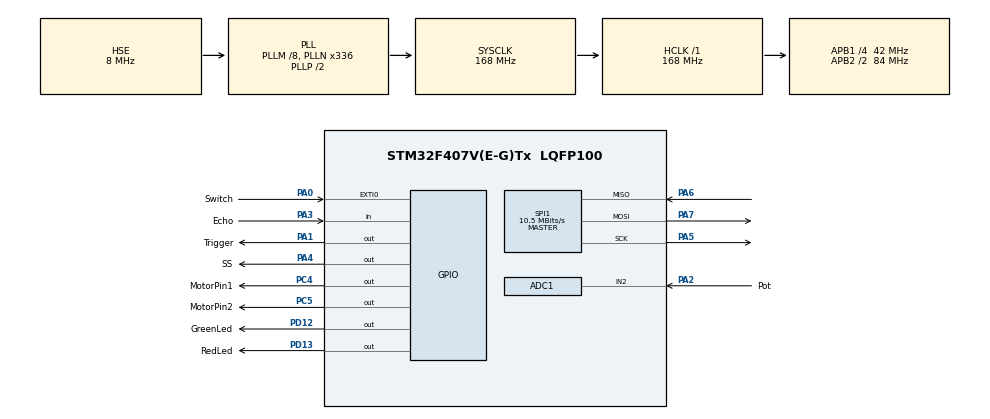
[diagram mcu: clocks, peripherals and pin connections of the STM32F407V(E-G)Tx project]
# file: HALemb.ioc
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ADC1.Channel-0\#ChannelRegularConversion=ADC_CHANNEL_2
ADC1.NbrOfConversionFlag=1
ADC1.Rank-0\#ChannelRegularConversion=1
ADC1.Resolution=ADC_RESOLUTION_10B
ADC1.SamplingTime-0\#ChannelRegularConversion=ADC_SAMPLETIME_28CYCLES
ADC1.master=1
Mcu.Family=STM32F4
Mcu.Name=STM32F407V(E-G)Tx
Mcu.Package=LQFP100
NVIC.EXTI0_IRQn=true\:0\:0\:false\:false\:true\:true\:true
NVIC.PriorityGroup=NVIC_PRIORITYGROUP_0
PA0-WKUP.GPIO_Label=Switch
PA0-WKUP.Signal=GPXTI0
PA1.GPIO_Label=Trigger
PA1.Signal=GPIO_Output
PA13.Mode=Serial_Wire
PA13.Signal=SYS_JTMS-SWDIO
PA14.Mode=Serial_Wire
PA14.Signal=SYS_JTCK-SWCLK
PA2.GPIO_Label=Pot
PA2.Signal=ADCx_IN2
PA3.GPIO_Label=Echo
PA3.Signal=GPIO_Input
PA4.GPIO_Label=SS
PA4.PinState=GPIO_PIN_RESET
PA4.Signal=GPIO_Output
PA5.Mode=Full_Duplex_Master
PA5.Signal=SPI1_SCK
PA6.Mode=Full_Duplex_Master
PA6.Signal=SPI1_MISO
PA7.Mode=Full_Duplex_Master
PA7.Signal=SPI1_MOSI
PC4.GPIO_Label=MotorPin1
PC4.Signal=GPIO_Output
PC5.GPIO_Label=MotorPin2
PC5.Signal=GPIO_Output
PD12.GPIO_Label=GreenLed
PD12.Signal=GPIO_Output
PD13.GPIO_Label=RedLed
PD13.Signal=GPIO_Output
ProjectManager.HeapSize=0x200
ProjectManager.StackSize=0x400
ProjectManager.TargetToolchain=STM32CubeIDE
RCC.48MHZClocksFreq_Value=48000000
RCC.AHBFreq_Value=168000000
RCC.APB1CLKDivider=RCC_HCLK_DIV4
RCC.APB1Freq_Value=42000000
RCC.APB1TimFreq_Value=84000000
RCC.APB2CLKDivider=RCC_HCLK_DIV2
RCC.APB2Freq_Value=84000000
RCC.APB2TimFreq_Value=168000000
RCC.CortexFreq_Value=168000000
RCC.HCLKFreq_Value=168000000
RCC.HSE_VALUE=8000000
RCC.HSI_VALUE=16000000
RCC.LSE_VALUE=32768
RCC.PLLM=8
RCC.PLLN=336
RCC.PLLQ=7
RCC.PLLSourceVirtual=RCC_PLLSOURCE_HSE
RCC.SYSCLKFreq_VALUE=168000000
RCC.SYSCLKSource=RCC_SYSCLKSOURCE_PLLCLK
RCC.VCOOutputFreq_Value=336000000
SH.ADCx_IN2.0=ADC1_IN2,IN2
SPI1.BaudRatePrescaler=SPI_BAUDRATEPRESCALER_8
SPI1.CalculateBaudRate=10.5 MBits/s
SPI1.Direction=SPI_DIRECTION_2LINES
SPI1.Mode=SPI_MODE_MASTER
SPI1.VirtualType=VM_MASTER
board=STM32F407G-DISC1

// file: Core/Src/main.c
/* USER CODE BEGIN Header */
/**
  ******************************************************************************
  * @file           : main.c
  * @brief          : Main program body
  ******************************************************************************
  * @attention
  *
  * <h2><center>&copy; Copyright (c) 2020 STMicroelectronics.
  * All rights reserved.</center></h2>
  *
  * This software component is licensed by ST under Ultimate Liberty license
  * SLA0044, the "License"; You may not use this file except in compliance with
  * the License. You may obtain a copy of the License at:
  *                             www.st.com/SLA0044
  *
  ******************************************************************************
  */
/* USER CODE END Header */
#include "main.h"

/* USER CODE BEGIN Includes */
#include <stdio.h>
/* USER CODE END Includes */

ADC_HandleTypeDef hadc1;

SPI_HandleTypeDef hspi1;

/* USER CODE BEGIN PV */
uint8_t buffer=0;
uint8_t flag=0;
uint8_t motorFlag = 0;

/* USER CODE END PV */

void SystemClock_Config(void);
static void MX_GPIO_Init(void);
static void MX_SPI1_Init(void);
static void MX_ADC1_Init(void);
/* USER CODE BEGIN PFP */
extern void initialise_monitor_handles(void);
/* USER CODE END PFP */

/* USER CODE BEGIN 0 */
void delay(uint8_t time)
{
	for(uint8_t i;i<time;i++);
}

uint32_t local_time, sensor_time;
uint32_t distance;

uint32_t hcsr04_read (void)
{
 local_time=0;
 HAL_GPIO_WritePin(Trigger_GPIO_Port, Trigger_Pin, GPIO_PIN_RESET);  // pull the TRIG pin HIGH
 delay(2);  // wait for 2 us

 HAL_GPIO_WritePin(Trigger_GPIO_Port, Trigger_Pin, GPIO_PIN_SET);  // pull the TRIG pin HIGH
 delay(10);  // wait for 10 us
 HAL_GPIO_WritePin(Trigger_GPIO_Port, Trigger_Pin, GPIO_PIN_RESET);  // pull the TRIG pin low

 // read the time for which the pin is high

 while (!(HAL_GPIO_ReadPin(Echo_GPIO_Port, Echo_Pin)));  // wait for the ECHO pin to go high
 while (HAL_GPIO_ReadPin(Echo_GPIO_Port, Echo_Pin))    // while the pin is high
  {
  local_time++;   // measure time for which the pin is high
  delay(1);
  }
 return local_time;
}

void turnRight(void)
{
	HAL_GPIO_WritePin(MotorPin1_GPIO_Port, MotorPin1_Pin, SET);
	HAL_GPIO_WritePin(MotorPin2_GPIO_Port, MotorPin2_Pin, RESET);
}

void turnLeft(void)
{
	HAL_GPIO_WritePin(MotorPin1_GPIO_Port, MotorPin1_Pin, RESET);
	HAL_GPIO_WritePin(MotorPin2_GPIO_Port, MotorPin2_Pin, SET);
}

void motorHalt(void)
{
	HAL_GPIO_WritePin(MotorPin1_GPIO_Port, MotorPin1_Pin, RESET);
	HAL_GPIO_WritePin(MotorPin2_GPIO_Port, MotorPin2_Pin, RESET);
}

void toggleTurn(void)
{
	if(motorFlag) {
		turnLeft();
	}

	else if(!motorFlag) {
		turnRight();
	}

	else {
		motorHalt();
	}

//	motorFlag = !motorFlag;
	if(motorFlag == 0) {
		motorFlag = 1;
	}
	else {
		motorFlag = 0;
	}
}
/* USER CODE END 0 */

int main(void)
{

  /* MCU Configuration--------------------------------------------------------*/

  /* Reset of all peripherals, Initializes the Flash interface and the Systick. */
  HAL_Init();

  /* Configure the system clock */
  SystemClock_Config();

  /* Initialize all configured peripherals */
  MX_GPIO_Init();
  MX_SPI1_Init();
  MX_ADC1_Init();
  /* USER CODE BEGIN 2 */
// HAL_SPI_TransmitReceive(&hspi1, buffer, bufferrx, 10, 100);
  /* USER CODE END 2 */

  /* Infinite loop */
  /* USER CODE BEGIN WHILE */
  // HAL_GPIO_WritePin(SS_GPIO_Port, SS_Pin, SET);
  while (1)
  {
    /* USER CODE END WHILE */

    /* USER CODE BEGIN 3 */
	  if(flag == 1)
	  {
		  HAL_GPIO_WritePin(GreenLed_GPIO_Port, GreenLed_Pin, SET);
		  if(PotVal >= 512)
		  {
			  delay(500);
			  //HAL_GPIO_WritePin(SS_GPIO_Port, SS_Pin, RESET);
			  sensor_time = hcsr04_read();
			  distance  = sensor_time * .034/2;
			  if(distance>0 && distance<4)
			  {
				  HAL_GPIO_WritePin(RedLed_GPIO_Port, RedLed_Pin, SET);
				  buffer = 1;
			  }
			  else
			  {
				  HAL_GPIO_WritePin(RedLed_GPIO_Port, RedLed_Pin, RESET);
				  buffer = 3;
			  }
			  delay(200);
		//	  buffer++;
			 // HAL_GPIO_WritePin(SS_GPIO_Port, SS_Pin, SET);
		  }
		  else
		  {
			  buffer = 2;
			  HAL_GPIO_WritePin(RedLed_GPIO_Port, RedLed_Pin, RESET);

		  }

	  }
	  else
	  {
		  HAL_GPIO_WritePin(GreenLed_GPIO_Port, GreenLed_Pin, RESET);
		  buffer = 0;
		  printf("######\n");
	  }

	  HAL_SPI_Transmit(&hspi1, &buffer, 1, 10);
	  delay(10);

  }
  /* USER CODE END 3 */
}

void SystemClock_Config(void)
{
  RCC_OscInitTypeDef RCC_OscInitStruct = {0};
  RCC_ClkInitTypeDef RCC_ClkInitStruct = {0};

  /** Configure the main internal regulator output voltage
  */
  __HAL_RCC_PWR_CLK_ENABLE();
  __HAL_PWR_VOLTAGESCALING_CONFIG(PWR_REGULATOR_VOLTAGE_SCALE1);
  /** Initializes the RCC Oscillators according to the specified parameters
  * in the RCC_OscInitTypeDef structure.
  */
  RCC_OscInitStruct.OscillatorType = RCC_OSCILLATORTYPE_HSE;
  RCC_OscInitStruct.HSEState = RCC_HSE_OFF;
  RCC_OscInitStruct.PLL.PLLState = RCC_PLL_ON;
  RCC_OscInitStruct.PLL.PLLSource = RCC_PLLSOURCE_HSE;
  RCC_OscInitStruct.PLL.PLLM = 8;
  RCC_OscInitStruct.PLL.PLLN = 336;
  RCC_OscInitStruct.PLL.PLLP = RCC_PLLP_DIV2;
  RCC_OscInitStruct.PLL.PLLQ = 7;
  if (HAL_RCC_OscConfig(&RCC_OscInitStruct) != HAL_OK)
  {
    Error_Handler();
  }
  /** Initializes the CPU, AHB and APB buses clocks
  */
  RCC_ClkInitStruct.ClockType = RCC_CLOCKTYPE_HCLK|RCC_CLOCKTYPE_SYSCLK
                              |RCC_CLOCKTYPE_PCLK1|RCC_CLOCKTYPE_PCLK2;
  RCC_ClkInitStruct.SYSCLKSource = RCC_SYSCLKSOURCE_PLLCLK;
  RCC_ClkInitStruct.AHBCLKDivider = RCC_SYSCLK_DIV1;
  RCC_ClkInitStruct.APB1CLKDivider = RCC_HCLK_DIV4;
  RCC_ClkInitStruct.APB2CLKDivider = RCC_HCLK_DIV2;

  if (HAL_RCC_ClockConfig(&RCC_ClkInitStruct, FLASH_LATENCY_5) != HAL_OK)
  {
    Error_Handler();
  }
}

static void MX_ADC1_Init(void)
{

  ADC_ChannelConfTypeDef sConfig = {0};

  /** Configure the global features of the ADC (Clock, Resolution, Data Alignment and number of conversion)
  */
  hadc1.Instance = ADC1;
  hadc1.Init.ClockPrescaler = ADC_CLOCK_SYNC_PCLK_DIV4;
  hadc1.Init.Resolution = ADC_RESOLUTION_10B;
  hadc1.Init.ScanConvMode = DISABLE;
  hadc1.Init.ContinuousConvMode = DISABLE;
  hadc1.Init.DiscontinuousConvMode = DISABLE;
  hadc1.Init.ExternalTrigConvEdge = ADC_EXTERNALTRIGCONVEDGE_NONE;
  hadc1.Init.ExternalTrigConv = ADC_SOFTWARE_START;
  hadc1.Init.DataAlign = ADC_DATAALIGN_RIGHT;
  hadc1.Init.NbrOfConversion = 1;
  hadc1.Init.DMAContinuousRequests = DISABLE;
  hadc1.Init.EOCSelection = ADC_EOC_SINGLE_CONV;
  if (HAL_ADC_Init(&hadc1) != HAL_OK)
  {
    Error_Handler();
  }
  /** Configure for the selected ADC regular channel its corresponding rank in the sequencer and its sample time.
  */
  sConfig.Channel = ADC_CHANNEL_2;
  sConfig.Rank = 1;
  sConfig.SamplingTime = ADC_SAMPLETIME_28CYCLES;
  if (HAL_ADC_ConfigChannel(&hadc1, &sConfig) != HAL_OK)
  {
    Error_Handler();
  }

}

static void MX_SPI1_Init(void)
{

  /* SPI1 parameter configuration*/
  hspi1.Instance = SPI1;
  hspi1.Init.Mode = SPI_MODE_MASTER;
  hspi1.Init.Direction = SPI_DIRECTION_2LINES;
  hspi1.Init.DataSize = SPI_DATASIZE_8BIT;
  hspi1.Init.CLKPolarity = SPI_POLARITY_LOW;
  hspi1.Init.CLKPhase = SPI_PHASE_1EDGE;
  hspi1.Init.NSS = SPI_NSS_SOFT;
  hspi1.Init.BaudRatePrescaler = SPI_BAUDRATEPRESCALER_8;
  hspi1.Init.FirstBit = SPI_FIRSTBIT_MSB;
  hspi1.Init.TIMode = SPI_TIMODE_DISABLE;
  hspi1.Init.CRCCalculation = SPI_CRCCALCULATION_DISABLE;
  hspi1.Init.CRCPolynomial = 10;
  if (HAL_SPI_Init(&hspi1) != HAL_OK)
  {
    Error_Handler();
  }

}

static void MX_GPIO_Init(void)
{
  GPIO_InitTypeDef GPIO_InitStruct = {0};

  /* GPIO Ports Clock Enable */
  __HAL_RCC_GPIOA_CLK_ENABLE();
  __HAL_RCC_GPIOC_CLK_ENABLE();
  __HAL_RCC_GPIOD_CLK_ENABLE();

  /*Configure GPIO pin Output Level */
  HAL_GPIO_WritePin(GPIOA, Trigger_Pin|SS_Pin, GPIO_PIN_RESET);

  /*Configure GPIO pin Output Level */
  HAL_GPIO_WritePin(GPIOC, MotorPin1_Pin|MotorPin2_Pin, GPIO_PIN_RESET);

  /*Configure GPIO pin Output Level */
  HAL_GPIO_WritePin(GPIOD, GreenLed_Pin|RedLed_Pin, GPIO_PIN_RESET);

  /*Configure GPIO pin : Switch_Pin */
  GPIO_InitStruct.Pin = Switch_Pin;
  GPIO_InitStruct.Mode = GPIO_MODE_IT_RISING;
  GPIO_InitStruct.Pull = GPIO_NOPULL;
  HAL_GPIO_Init(Switch_GPIO_Port, &GPIO_InitStruct);

  /*Configure GPIO pins : Trigger_Pin SS_Pin */
  GPIO_InitStruct.Pin = Trigger_Pin|SS_Pin;
  GPIO_InitStruct.Mode = GPIO_MODE_OUTPUT_PP;
  GPIO_InitStruct.Pull = GPIO_NOPULL;
  GPIO_InitStruct.Speed = GPIO_SPEED_FREQ_LOW;
  HAL_GPIO_Init(GPIOA, &GPIO_InitStruct);

  /*Configure GPIO pin : Echo_Pin */
  GPIO_InitStruct.Pin = Echo_Pin;
  GPIO_InitStruct.Mode = GPIO_MODE_INPUT;
  GPIO_InitStruct.Pull = GPIO_NOPULL;
  HAL_GPIO_Init(Echo_GPIO_Port, &GPIO_InitStruct);

  /*Configure GPIO pins : MotorPin1_Pin MotorPin2_Pin */
  GPIO_InitStruct.Pin = MotorPin1_Pin|MotorPin2_Pin;
  GPIO_InitStruct.Mode = GPIO_MODE_OUTPUT_PP;
  GPIO_InitStruct.Pull = GPIO_NOPULL;
  GPIO_InitStruct.Speed = GPIO_SPEED_FREQ_LOW;
  HAL_GPIO_Init(GPIOC, &GPIO_InitStruct);

  /*Configure GPIO pins : GreenLed_Pin RedLed_Pin */
  GPIO_InitStruct.Pin = GreenLed_Pin|RedLed_Pin;
  GPIO_InitStruct.Mode = GPIO_MODE_OUTPUT_PP;
  GPIO_InitStruct.Pull = GPIO_NOPULL;
  GPIO_InitStruct.Speed = GPIO_SPEED_FREQ_LOW;
  HAL_GPIO_Init(GPIOD, &GPIO_InitStruct);

  /* EXTI interrupt init*/
  HAL_NVIC_SetPriority(EXTI0_IRQn, 0, 0);
  HAL_NVIC_EnableIRQ(EXTI0_IRQn);

}

/* USER CODE BEGIN 4 */
void HAL_GPIO_EXTI_Callback(uint16_t GPIO_Pin)
{
	printf("*******\n");
	if(flag==0)
	{
		flag=1;
	}
	else if(flag==1)
	{
		flag=0;
	}
	initialise_monitor_handles();
	printf("%u\n", flag);

}
/* USER CODE END 4 */

void Error_Handler(void)
{
}

/************************ (C) COPYRIGHT STMicroelectronics *****END OF FILE****/
